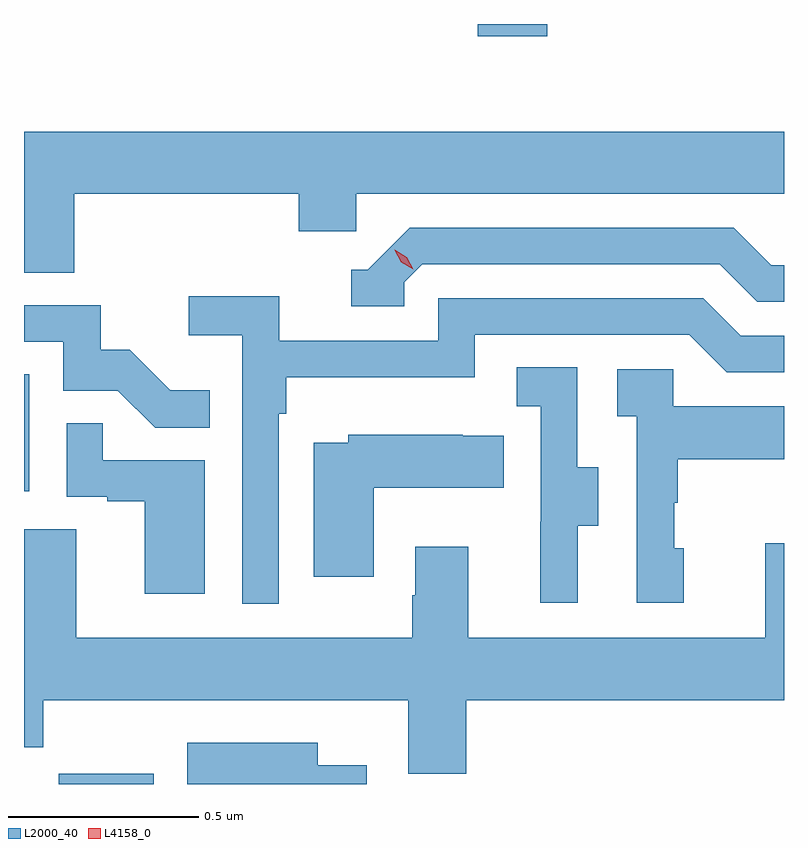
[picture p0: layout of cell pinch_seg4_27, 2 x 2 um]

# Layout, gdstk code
import gdstk
lib = gdstk.Library(unit=1e-6, precision=1e-09)
def R(c, l, rs):  # rectangles x0, y0, x1, y1
    for r in rs: c.add(gdstk.rectangle(r[:2], r[2:], *l))
def P(c, l, *ps):  # polygons
    for p in ps: c.add(gdstk.Polygon(p, *l))
L2000_40 = (2000, 40)
L4158_0 = (4158, 0)

pinch_seg4_27 = lib.new_cell('pinch_seg4_27')
R(pinch_seg4_27, L2000_40, [(1089.082,813.915,1089.331,813.942), (1088.99,814.686,1089.004,814.993), (1090.184,815.883,1090.367,815.915)])
P(pinch_seg4_27, L2000_40, [(1089.122,815.468),(1089.713,815.468),(1089.713,815.37),(1089.864,815.37),(1089.864,815.468),(1090.99,815.468),(1090.99,815.632),(1088.99,815.632),(1088.99,815.26),(1089.122,815.26)],
  [(1089.99,815.235),(1090.038,815.283),(1090.821,815.283),(1090.92,815.184),(1090.99,815.184),(1090.99,815.28),(1090.957,815.28),(1090.858,815.379),(1090.005,815.379),(1089.894,815.268),(1089.851,815.268),(1089.851,815.172),(1089.99,815.172)],
  [(1089.66,814.889),(1089.68,814.889),(1089.68,814.985),(1090.176,814.985),(1090.176,815.097),(1090.74,815.097),(1090.839,814.998),(1090.99,814.998),(1090.99,815.094),(1090.876,815.094),(1090.777,815.193),(1090.08,815.193),(1090.08,815.082),(1089.662,815.082),(1089.662,815.198),(1089.423,815.198),(1089.423,815.096),(1089.564,815.096),(1089.564,814.389),(1089.66,814.389)],
  [(1089.479,814.951),(1089.375,814.951),(1089.268,815.058),(1089.192,815.058),(1089.192,815.175),(1088.99,815.175),(1088.99,815.079),(1089.093,815.079),(1089.093,814.95),(1089.237,814.95),(1089.335,814.852),(1089.479,814.852)],
  [(1090.447,814.594),(1090.501,814.594),(1090.501,814.749),(1090.446,814.749),(1090.446,815.012),(1090.287,815.012),(1090.287,814.909),(1090.35,814.909),(1090.35,814.605),(1090.349,814.605),(1090.349,814.392),(1090.447,814.392)],
  [(1090.726,814.536),(1090.701,814.536),(1090.701,814.655),(1090.711,814.655),(1090.711,814.769),(1090.99,814.769),(1090.99,814.909),(1090.698,814.909),(1090.698,815.007),(1090.551,815.007),(1090.551,814.883),(1090.602,814.883),(1090.602,814.392),(1090.726,814.392)],
  [(1089.466,814.767),(1089.197,814.767),(1089.197,814.865),(1089.102,814.865),(1089.102,814.671),(1089.209,814.671),(1089.209,814.659),(1089.308,814.659),(1089.308,814.416),(1089.466,814.416)],
  [(1089.91,814.694),(1090.253,814.694),(1090.253,814.831),(1090.145,814.831),(1090.145,814.834),(1089.843,814.834),(1089.843,814.813),(1089.752,814.813),(1089.752,814.461),(1089.91,814.461)],
  [(1090.154,814.136),(1090.99,814.136),(1090.99,814.549),(1090.94,814.549),(1090.94,814.3),(1090.159,814.3),(1090.159,814.54),(1090.019,814.54),(1090.019,814.412),(1090.012,814.412),(1090.012,814.3),(1089.127,814.3),(1089.127,814.586),(1088.99,814.586),(1088.99,814.012),(1089.041,814.012),(1089.041,814.136),(1090.001,814.136),(1090.001,813.942),(1090.154,813.942)],
  [(1089.892,813.964),(1089.763,813.964),(1089.763,814.024),(1089.419,814.024),(1089.419,813.915),(1089.892,813.915)])
P(pinch_seg4_27, L4158_0, [(1090.014,815.269),(1089.983,815.288),(1089.966,815.32),(1089.966,815.321),(1089.966,815.321),(1089.997,815.301),(1090.014,815.269),(1090.014,815.269)])

lib.write_gds('pinch_seg4_27.gds')
